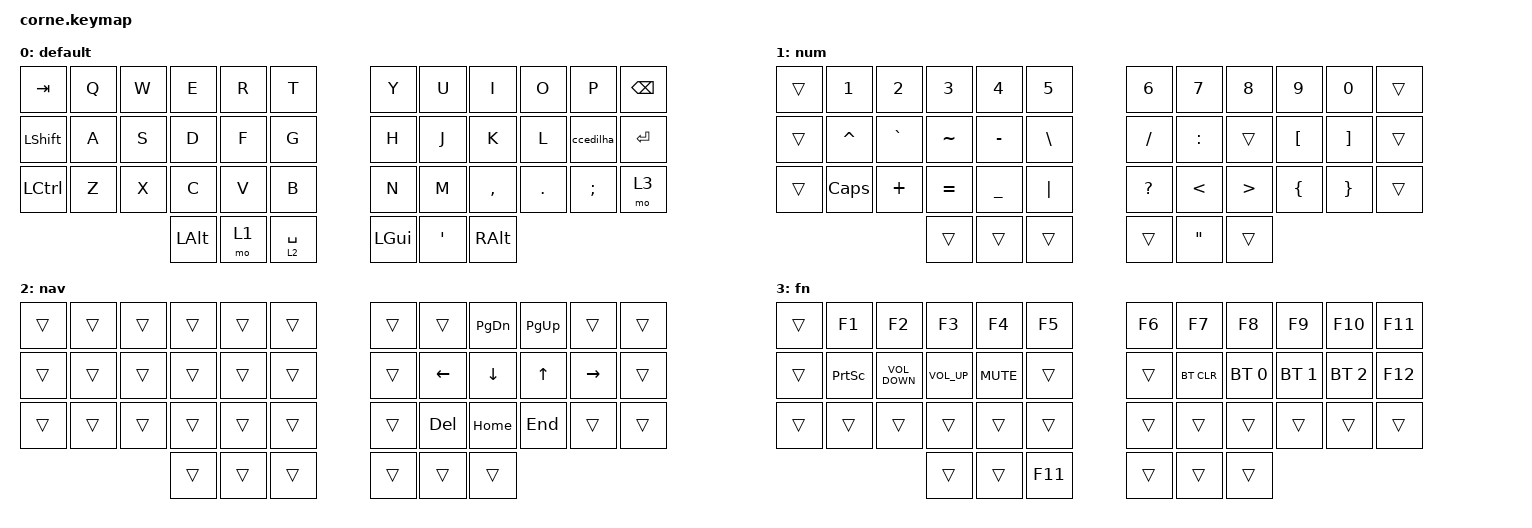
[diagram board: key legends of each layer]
/*
 * Copyright (c) 2020 The ZMK Contributors
 *
 * SPDX-License-Identifier: MIT
 */

#include <dt-bindings/zmk/matrix_transform.h>
#include <behaviors.dtsi>
#include <dt-bindings/zmk/bt.h>
#include <dt-bindings/zmk/keys.h>

&sk {
    release-after-ms = <2000>;
    quick-release;
};

&mt {
    tapping-term-ms = <200>;
    flavor = "tap-preferred";
};

// layers

#define ALPHA1  0
#define ALPHA2  1
#define ALPHA2U 2
#define NUM     3
#define NAV     4
#define MEDIA   5
#define EDITOR  6
#define SYM     7
#define FUN     8

/ {
    behaviors {
        space_2: space_2 {
            compatible = "zmk,behavior-hold-tap";
            label = "SPACE_2";
            bindings = <&mo>, <&kp>;

            #binding-cells = <2>;
            tapping-term-ms = <300>;
            quick-tap-ms = <250>;
            flavor = "tap-preferred";
        };
    };

    combos {
        compatible = "zmk,combos";

        esc {
            bindings = <&kp ESCAPE>;
            key-positions = <2 3>;
        };
    };

    macros {
        ccedilha: cedilha {
            compatible = "zmk,behavior-macro";
            #binding-cells = <0>;
            bindings = <&kp SQT &kp C>;
            label = "CEDILHA";
        };
    };

    keymap {
        compatible = "zmk,keymap";

        default {
            bindings = <
&kp TAB           &kp Q  &kp W  &kp E         &kp R  &kp T               &kp Y         &kp U           &kp I          &kp O    &kp P          &kp BACKSPACE
&kp LEFT_SHIFT    &kp A  &kp S  &kp D         &kp F  &kp G               &kp H         &kp J           &kp K          &kp L    &ccedilha      &kp RETURN
&kp LEFT_CONTROL  &kp Z  &kp X  &kp C         &kp V  &kp B               &kp N         &kp M           &kp COMMA      &kp DOT  &kp SEMICOLON  &mo 3
                                &kp LEFT_ALT  &mo 1  &space_2 2 SPACE    &kp LEFT_GUI  &kp APOSTROPHE  &kp RIGHT_ALT
            >;
        };

        num {
            bindings = <
&trans  &kp NUMBER_1  &kp NUMBER_2  &kp NUMBER_3  &kp NUMBER_4    &kp NUMBER_5    &kp NUMBER_6  &kp NUMBER_7       &kp NUMBER_8      &kp NUMBER_9      &kp NUMBER_0       &trans
&trans  &kp CARET     &kp GRAVE     &kp TILDE     &kp MINUS       &kp BSLH        &kp SLASH     &kp COLON          &trans            &kp LEFT_BRACKET  &kp RIGHT_BRACKET  &trans
&trans  &kp CAPSLOCK  &kp PLUS      &kp EQUAL     &kp UNDERSCORE  &kp PIPE        &kp QUESTION  &kp LESS_THAN      &kp GREATER_THAN  &kp LEFT_BRACE    &kp RIGHT_BRACE    &trans
                                    &trans        &trans          &trans          &trans        &kp DOUBLE_QUOTES  &trans
            >;
        };

        nav {
            bindings = <
&trans  &trans  &trans  &trans  &trans  &trans    &trans  &trans          &kp PAGE_DOWN   &kp PAGE_UP   &trans           &trans
&trans  &trans  &trans  &trans  &trans  &trans    &trans  &kp LEFT_ARROW  &kp DOWN_ARROW  &kp UP_ARROW  &kp RIGHT_ARROW  &trans
&trans  &trans  &trans  &trans  &trans  &trans    &trans  &kp DELETE      &kp HOME        &kp END       &trans           &trans
                        &trans  &trans  &trans    &trans  &trans          &trans
            >;
        };

        fn {
            bindings = <
&trans  &kp F1           &kp F2             &kp F3           &kp F4      &kp F5     &kp F6  &kp F7      &kp F8        &kp F9        &kp F10       &kp F11
&trans  &kp PRINTSCREEN  &kp C_VOLUME_DOWN  &kp C_VOLUME_UP  &kp K_MUTE  &trans     &trans  &bt BT_CLR  &bt BT_SEL 0  &bt BT_SEL 1  &bt BT_SEL 2  &kp F12
&trans  &trans           &trans             &trans           &trans      &trans     &trans  &trans      &trans        &trans        &trans        &trans
                                            &trans           &trans      &kp F11    &trans  &trans      &trans
            >;
        };
    };
};
